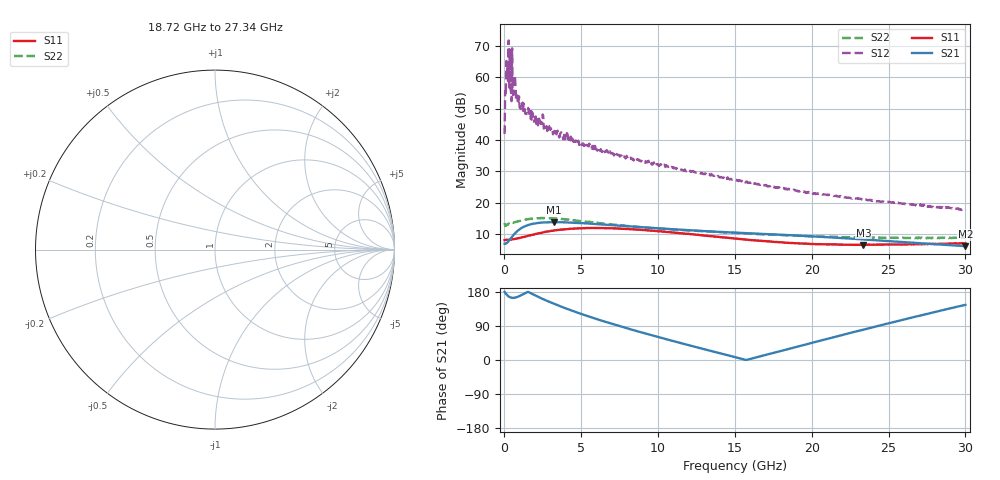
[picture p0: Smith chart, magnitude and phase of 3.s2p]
! MMA017AA S Parameters
! Please see datasheet for reference plane information
! Wafer 16134 018 Device 1
! Vd=3.3V;Id=78.89mA;Temp=25C
# GHZ S DB R 50
! Freq	dBS11	angS11	dBS21	angS21	dBS12	angS12	dBS22	angS22
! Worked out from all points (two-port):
!   801 points, 10 MHz to 30 GHz, reference 50 ohm
!   highest |S21| = 13.81 dB at 3.234 GHz (marker M1); lowest = 6.2 dB at 30 GHz (marker M2)
!   |S21| within 3 dB of the highest: 807.1 MHz to 13.5 GHz (12.69 GHz wide, 177 % of centre); 13.5467 GHz to 13.58924 GHz (42.54 MHz wide, 0.314 % of centre)
!   lowest |S11| = 6.6 dB at 23.36 GHz (marker M3)
!   |S11| at or under -10 dB: nowhere
!   |S22| runs from 8.6 to 15.2 dB; largest |S21 - S12| = 3.8e+03
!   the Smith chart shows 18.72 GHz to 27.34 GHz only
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0.01  8.09 0.5  6.92 179.8  41.91 148.4  13.55 2.9
0.085  8.11 1.6  7.00 175.6  54.37 103.2  12.57 5.3
0.122  8.19 2.6  7.06 173.8  65.19 149.8  12.85 5.8
0.16  8.16 3.0  7.20 172.1  64.52 75.5  13.06 9.4
0.197  8.16 3.8  7.35 170.4  61.51 50.6  12.99 11.9
0.235  8.21 4.6  7.54 168.9  58.77 94.4  13.02 12.3
0.272  8.18 5.2  7.78 167.6  71.70 163.8  13.33 14.1
0.347  8.23 6.8  8.23 165.7  68.78 102.4  13.23 19.1
0.422  8.28 8.0  8.72 164.7  55.67 134.0  13.48 20.4
0.46  8.26 8.8  8.91 164.3  52.35 38.0  13.52 23.0
0.61  8.40 11.5  9.82 164.0  60.02 85.1  13.75 29.3
0.647  8.42 12.2  10.03 164.2  60.56 42.6  13.76 30.8
0.685  8.47 12.7  10.22 164.5  60.34 79.7  13.80 32.2
0.947  8.73 17.2  11.40 168.2  53.90 81.8  14.13 42.0
3.234  11.15 37.9  13.81 148.1  42.69 71.7  14.99 98.3
5.033  11.87 46.3  13.50 121.0  38.40 61.7  14.09 127.0
10.019  10.94 73.3  11.84 60.4  32.12 33.9  11.77 176.0
15.005  8.57 113.0  10.47 7.4  27.32 8.1  10.37 132.9
20.028  6.87 166.3  9.28 45.4  23.18 29.8  9.27 92.6
23.365  6.56 155.0  8.29 80.1  20.96 55.3  8.91 66.9
25.014  6.67 135.8  7.76 96.9  20.25 70.7  8.88 54.4
30  7.02 79.2  6.15 145.5  17.66 109.9  8.88 18.7
